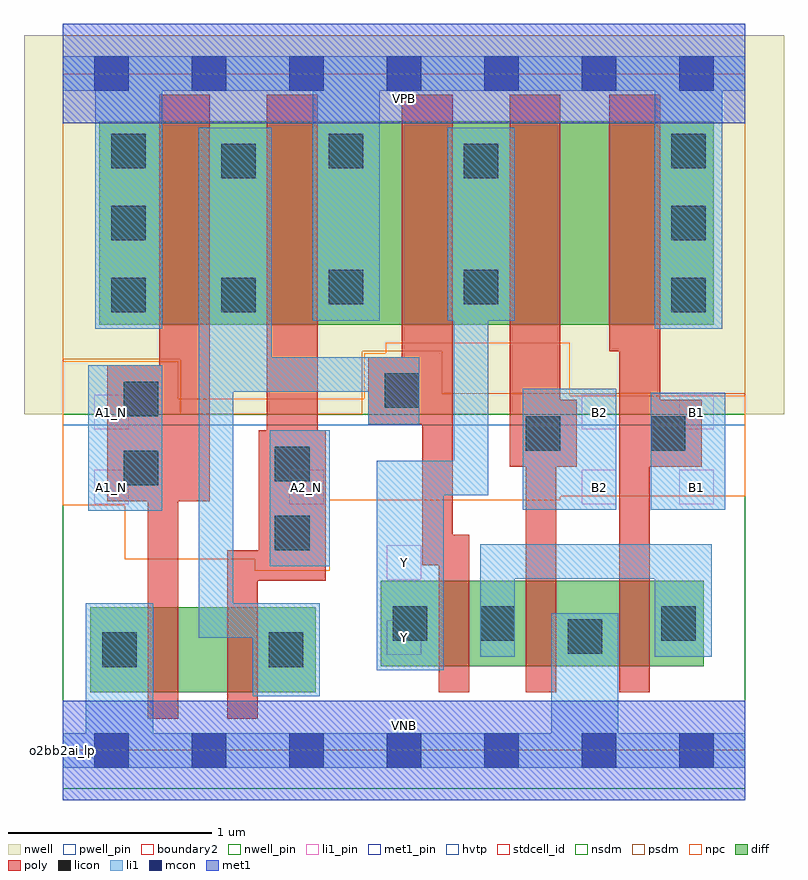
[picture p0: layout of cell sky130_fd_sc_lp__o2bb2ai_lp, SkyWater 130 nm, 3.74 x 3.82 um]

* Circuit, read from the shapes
.subckt sky130_fd_sc_lp__o2bb2ai_lp A1_N A2_N B1 B2 VGND VNB VPB VPWR Y
XM1 n1 A1_N VGND VNB sky130_fd_pr__nfet_01v8 w=0.42 l=0.15
XM2 n2 A2_N n1 VNB sky130_fd_pr__nfet_01v8 w=0.42 l=0.15
XM3 n3 n2 Y VNB sky130_fd_pr__nfet_01v8 w=0.42 l=0.15
XM4 VGND B2 n3 VNB sky130_fd_pr__nfet_01v8 w=0.42 l=0.15
XM5 n3 B1 VGND VNB sky130_fd_pr__nfet_01v8 w=0.42 l=0.15
XM6 n2 A1_N VPWR VPB sky130_fd_pr__pfet_01v8_hvt w=1 l=0.25
XM7 VPWR A2_N n2 VPB sky130_fd_pr__pfet_01v8_hvt w=1 l=0.25
XM8 Y n2 VPWR VPB sky130_fd_pr__pfet_01v8_hvt w=1 l=0.25
XM9 n4 B2 Y VPB sky130_fd_pr__pfet_01v8_hvt w=1 l=0.25
XM10 VPWR B1 n4 VPB sky130_fd_pr__pfet_01v8_hvt w=1 l=0.25
.ends

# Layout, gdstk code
import gdstk
lib = gdstk.Library(unit=1e-6, precision=1e-09)
def R(c, l, rs):  # rectangles x0, y0, x1, y1
    for r in rs: c.add(gdstk.rectangle(r[:2], r[2:], *l))
def A(c, l, x, y, w, h, nx, ny, dx, dy):  # array of equal rectangles
    R(c, l, [(x+i*dx, y+j*dy, x+i*dx+w, y+j*dy+h) for i in range(nx) for j in range(ny)])
def P(c, l, *ps):  # polygons
    for p in ps: c.add(gdstk.Polygon(p, *l))
nwell_pin = (64, 16)
nwell = (64, 20)
diff = (65, 20)
poly = (66, 20)
licon = (66, 44)
li1_pin = (67, 16)
li1 = (67, 20)
mcon = (67, 44)
met1_pin = (68, 16)
met1 = (68, 20)
hvtp = (78, 44)
stdcell_id = (81, 4)
nsdm = (93, 44)
psdm = (94, 20)
npc = (95, 20)
pwell_pin = (122, 16)
boundary2 = (236, 0)

sky130_fd_sc_lp__o2bb2ai = lib.new_cell('sky130_fd_sc_lp__o2bb2ai_lp')
R(sky130_fd_sc_lp__o2bb2ai, nwell_pin, [(0,3.085,3.36,3.33)])
R(sky130_fd_sc_lp__o2bb2ai, nwell, [(-0.19,1.655,3.55,3.52)])
R(sky130_fd_sc_lp__o2bb2ai, diff, [(0.135,0.285,1.245,0.705), (1.565,0.415,3.155,0.835), (0.18,2.095,3.205,3.095)])
P(sky130_fd_sc_lp__o2bb2ai, poly, [(0.725,3.225),(0.475,3.225),(0.475,1.895),(0.22,1.895),(0.22,1.225),(0.42,1.225),(0.42,0.155),(0.57,0.155),(0.57,1.225),(0.725,1.225)],
  [(1.295,1.575),(1.255,1.575),(1.255,3.225),(1.005,3.225),(1.005,1.575),(0.965,1.575),(0.965,0.985),(0.81,0.985),(0.81,0.155),(0.96,0.155),(0.96,0.835),(1.295,0.835)],
  [(2,1.06),(1.92,1.06),(1.92,3.225),(1.67,3.225),(1.67,1.935),(1.505,1.935),(1.505,1.605),(1.77,1.605),(1.77,0.91),(1.85,0.91),(1.85,0.285),(2,0.285)],
  [(2.53,1.725),(2.45,1.725),(2.45,3.225),(2.2,3.225),(2.2,1.395),(2.28,1.395),(2.28,0.285),(2.43,0.285),(2.43,1.395),(2.53,1.395)],
  [(3.145,1.725),(2.94,1.725),(2.94,3.225),(2.69,3.225),(2.69,1.965),(2.74,1.965),(2.74,0.285),(2.89,0.285),(2.89,1.395),(3.145,1.395)])
A(sky130_fd_sc_lp__o2bb2ai, licon, 0.24, 2.155, 0.17, 0.17, 1, 3, 0, 0.355)
A(sky130_fd_sc_lp__o2bb2ai, licon, 2.995, 2.155, 0.17, 0.17, 1, 3, 0, 0.355)
R(sky130_fd_sc_lp__o2bb2ai, licon, [(0.195,0.41,0.365,0.58), (1.015,0.41,1.185,0.58), (2.485,0.475,2.655,0.645), (1.625,0.54,1.795,0.71), (2.055,0.54,2.225,0.71), (2.945,0.54,3.115,0.71), (1.045,0.985,1.215,1.155), (0.3,1.305,0.47,1.475), (1.045,1.325,1.215,1.495), (2.28,1.475,2.45,1.645), (2.895,1.475,3.065,1.645), (0.3,1.645,0.47,1.815), (1.585,1.685,1.755,1.855), (0.78,2.155,0.95,2.325), (1.31,2.195,1.48,2.365), (1.975,2.195,2.145,2.365), (0.78,2.815,0.95,2.985), (1.975,2.815,2.145,2.985), (1.31,2.865,1.48,3.035)])
R(sky130_fd_sc_lp__o2bb2ai, li1_pin, [(1.595,0.47,1.765,0.64), (1.595,0.84,1.765,1.01), (0.155,1.21,0.325,1.38), (1.115,1.21,1.285,1.38), (2.555,1.21,2.725,1.38), (3.035,1.21,3.205,1.38), (0.155,1.58,0.325,1.75), (2.555,1.58,2.725,1.75), (3.035,1.58,3.205,1.75)])
R(sky130_fd_sc_lp__o2bb2ai, li1, [(1.02,0.905,1.315,1.575), (0.125,1.18,0.49,1.895), (2.265,1.185,2.725,1.78), (2.895,1.185,3.26,1.76)])
P(sky130_fd_sc_lp__o2bb2ai, li1, [(2.915,2.075),(2.915,3.245),(1.56,3.245),(1.56,2.115),(1.23,2.115),(1.23,3.245),(0.49,3.245),(0.49,2.075),(0.16,2.075),(0.16,3.245),(0,3.245),(0,3.415),(3.36,3.415),(3.36,3.245),(3.245,3.245),(3.245,2.075)],
  [(0.115,0.085),(0.115,0.725),(0.445,0.725),(0.445,0.085),(2.405,0.085),(2.405,0.675),(2.735,0.675),(2.735,0.085),(3.36,0.085),(3.36,-0.085),(0,-0.085),(0,0.085)],
  [(1.545,0.395),(1.545,1.425),(1.925,1.425),(1.925,2.115),(1.895,2.115),(1.895,3.065),(2.225,3.065),(2.225,2.115),(2.095,2.115),(2.095,1.255),(1.875,1.255),(1.875,0.395)],
  [(2.915,0.46),(2.915,0.845),(2.225,0.845),(2.225,0.46),(2.055,0.46),(2.055,1.015),(3.195,1.015),(3.195,0.46)],
  [(0.67,0.555),(0.67,3.065),(1.03,3.065),(1.03,1.935),(1.755,1.935),(1.755,1.605),(1.505,1.605),(1.505,1.765),(0.84,1.765),(0.84,0.725),(1.265,0.725),(1.265,0.265),(0.935,0.265),(0.935,0.555)])
A(sky130_fd_sc_lp__o2bb2ai, mcon, 0.155, -0.085, 0.17, 0.17, 7, 2, 0.48, 3.33)
R(sky130_fd_sc_lp__o2bb2ai, met1_pin, [(0,0,3.36,0.245), (0,3.085,3.36,3.33)])
R(sky130_fd_sc_lp__o2bb2ai, met1, [(0,-0.245,3.36,0.245), (0,3.085,3.36,3.575)])
R(sky130_fd_sc_lp__o2bb2ai, hvtp, [(0,1.6,3.36,3.33)])
R(sky130_fd_sc_lp__o2bb2ai, stdcell_id, [(0,0,3.36,3.33)])
R(sky130_fd_sc_lp__o2bb2ai, nsdm, [(0,-0.19,3.36,1.655)])
P(sky130_fd_sc_lp__o2bb2ai, psdm, [(3.36,3.52),(0,3.52),(0,1.925),(0.58,1.925),(0.58,1.655),(1.475,1.655),(1.475,1.965),(1.865,1.965),(1.865,1.755),(3.36,1.755)])
P(sky130_fd_sc_lp__o2bb2ai, npc, [(3.36,1.745),(2.495,1.745),(2.495,2.005),(1.59,2.005),(1.59,1.955),(1.485,1.955),(1.485,1.73),(0.57,1.73),(0.57,1.915),(0,1.915),(0,1.205),(0.305,1.205),(0.305,0.94),(0.945,0.94),(0.945,0.885),(1.315,0.885),(1.315,1.23),(2.45,1.23),(2.45,1.25),(3.36,1.25)])
R(sky130_fd_sc_lp__o2bb2ai, pwell_pin, [(0,0,3.36,0.245)])
R(sky130_fd_sc_lp__o2bb2ai, boundary2, [(0,0,3.36,3.33)])
sky130_fd_sc_lp__o2bb2ai.add(gdstk.Label('VNB', (1.68,0.123), layer=64, texttype=59))
sky130_fd_sc_lp__o2bb2ai.add(gdstk.Label('VPB', (1.68,3.208), layer=64, texttype=5))
sky130_fd_sc_lp__o2bb2ai.add(gdstk.Label('o2bb2ai_lp', (0,0), layer=83, texttype=44))
sky130_fd_sc_lp__o2bb2ai.add(gdstk.Label('VPWR', (1.68,3.208), layer=68, texttype=5))
sky130_fd_sc_lp__o2bb2ai.add(gdstk.Label('VGND', (1.68,0.123), layer=68, texttype=5))
sky130_fd_sc_lp__o2bb2ai.add(gdstk.Label('Y', (1.68,0.555), layer=67, texttype=5))
sky130_fd_sc_lp__o2bb2ai.add(gdstk.Label('Y', (1.68,0.925), layer=67, texttype=5))
sky130_fd_sc_lp__o2bb2ai.add(gdstk.Label('B2', (2.64,1.665), layer=67, texttype=5))
sky130_fd_sc_lp__o2bb2ai.add(gdstk.Label('B1', (3.12,1.665), layer=67, texttype=5))
sky130_fd_sc_lp__o2bb2ai.add(gdstk.Label('A2_N', (1.2,1.295), layer=67, texttype=5))
sky130_fd_sc_lp__o2bb2ai.add(gdstk.Label('A1_N', (0.24,1.295), layer=67, texttype=5))
sky130_fd_sc_lp__o2bb2ai.add(gdstk.Label('A1_N', (0.24,1.665), layer=67, texttype=5))
sky130_fd_sc_lp__o2bb2ai.add(gdstk.Label('B2', (2.64,1.295), layer=67, texttype=5))
sky130_fd_sc_lp__o2bb2ai.add(gdstk.Label('B1', (3.12,1.295), layer=67, texttype=5))

lib.write_gds('sky130_fd_sc_lp__o2bb2ai_lp.gds')
